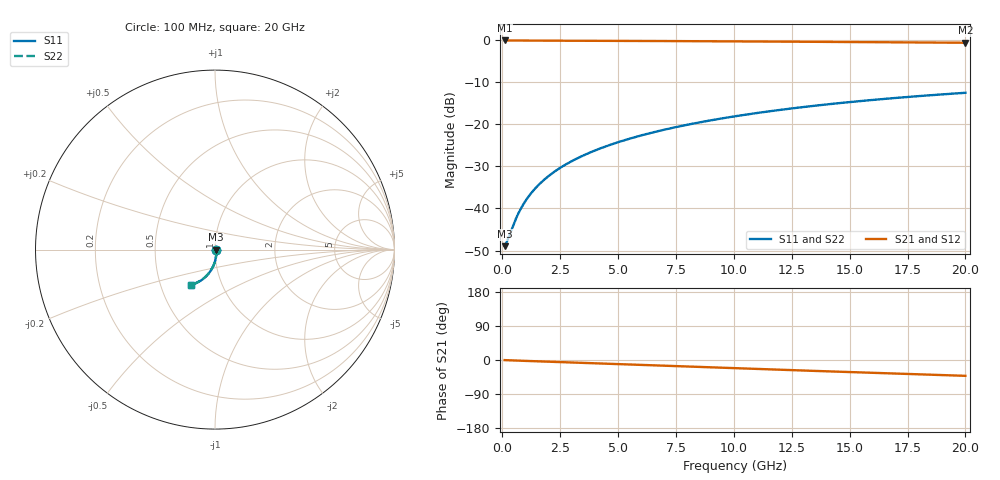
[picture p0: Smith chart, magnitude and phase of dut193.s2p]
! Touchstone file exported from HFSS 2026.1.0
!  File:  C:/ffzhzh/LocalFiles/Ansys_Project_Files/temp_train_BSMRDL_193_1782987571_45328.aedt
!  Generated:  06:21:13 PM Jul  2, 2026
!  Design:  BSMRDL
!  Project:  temp_train_BSMRDL_193_1782987571_45328
! Variables:
!  h_bsmrdl = 3.12um
!  h_ox = 20um
!  h_rdl = 5um
!  h_sub = 80um
!  h_tmrdl = 5um
!  h_tsv = 80um
!  h_via = 3um
!  l_bsmrdl = 686.02um
!  l_sub = 1086.02um
!  l_tmrdl = 200um
!  m_sub = 200um
!  pitch = 25.77um
!  r_tsv = 6um
!  s_tmrdl = 10um
!  w_bsmrdl = 24.35um
!  w_sub = 500um
!  w_tmrdl = 12um
!  x_tsv_center1 = 206um
!  x_tsv_center2 = 916.37um
!  x_tsv_center3 = 1128.37um
!  x_tsv_center4 = 1838.74um
!  x_tsv_center5 = 2050.74um
!  x_tsv_center6 = 2761.11um
# GHz S MA R 50.000000
! Terminal data exported
! Port[1] = BSM_RDL1_1_T1
! Port[2] = BSM_RDL1_1_T2
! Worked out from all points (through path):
!   200 points, 100 MHz to 20 GHz, reference 50 ohm
!   highest |S21| = -0.03 dB at 100 MHz (marker M1); lowest = -0.6 dB at 20 GHz (marker M2)
!   group delay of S21, straight-line fit = 5.79 ps
!   lowest |S11| = -49.0 dB at 100 MHz (marker M3), VSWR 1.01, Z = 50.4 - j0.0284 ohm
!   |S11| at or under -10 dB: start of sweep to end of sweep
!   |S22| runs from -49.0 to -12.5 dB; largest |S21 - S12| = 4.8e-15
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0.1  0.003562 -4.5  0.9964 -0.3  0.9964 -0.3  0.003562 -4.5
! Gamma 0 0 0 0
! Port Impedance 50 0 50 0
0.2  0.004038 -10.1  0.996 -0.5  0.996 -0.5  0.004038 -10.1
0.5  0.006621 -30.1  0.9942 -1.3  0.9942 -1.3  0.006621 -30.1
0.6  0.007684 -36.0  0.9937 -1.5  0.9937 -1.5  0.007683 -36.0
0.8  0.009934 -45.7  0.9928 -1.9  0.9928 -1.9  0.009932 -45.7
0.9  0.01109 -49.6  0.9925 -2.1  0.9925 -2.1  0.01109 -49.6
1.1  0.01346 -56.0  0.9919 -2.6  0.9919 -2.6  0.01345 -56.0
1.4  0.01705 -63.1  0.9913 -3.2  0.9913 -3.2  0.01704 -63.1
1.8  0.02189 -69.5  0.9907 -4.1  0.9907 -4.1  0.02188 -69.6
2.3  0.02797 -75.0  0.99 -5.1  0.99 -5.1  0.02796 -75.0
2.9  0.03532 -79.5  0.9891 -6.4  0.9891 -6.4  0.03531 -79.6
3.5  0.04272 -82.9  0.9881 -7.8  0.9881 -7.8  0.0427 -82.9
4.2  0.0514 -86.0  0.9869 -9.3  0.9869 -9.3  0.05138 -86.0
5  0.06139 -88.9  0.9852 -11.0  0.9852 -11.0  0.06136 -89.0
5.9  0.07269 -91.7  0.9832 -12.9  0.9832 -12.9  0.07266 -91.8
6.8  0.08404 -94.3  0.9809 -14.8  0.9809 -14.8  0.08399 -94.4
8.4  0.1042 -98.4  0.9765 -18.2  0.9765 -18.2  0.1042 -98.5
10.1  0.1255 -102.5  0.9714 -21.8  0.9714 -21.8  0.1254 -102.7
11.7  0.1452 -106.3  0.9662 -25.1  0.9662 -25.1  0.1451 -106.4
13.4  0.1656 -110.1  0.9604 -28.6  0.9604 -28.6  0.1655 -110.3
16.7  0.2033 -117.3  0.9484 -35.3  0.9484 -35.3  0.2031 -117.5
20  0.2376 -124.2  0.9358 -41.8  0.9358 -41.8  0.2374 -124.4
